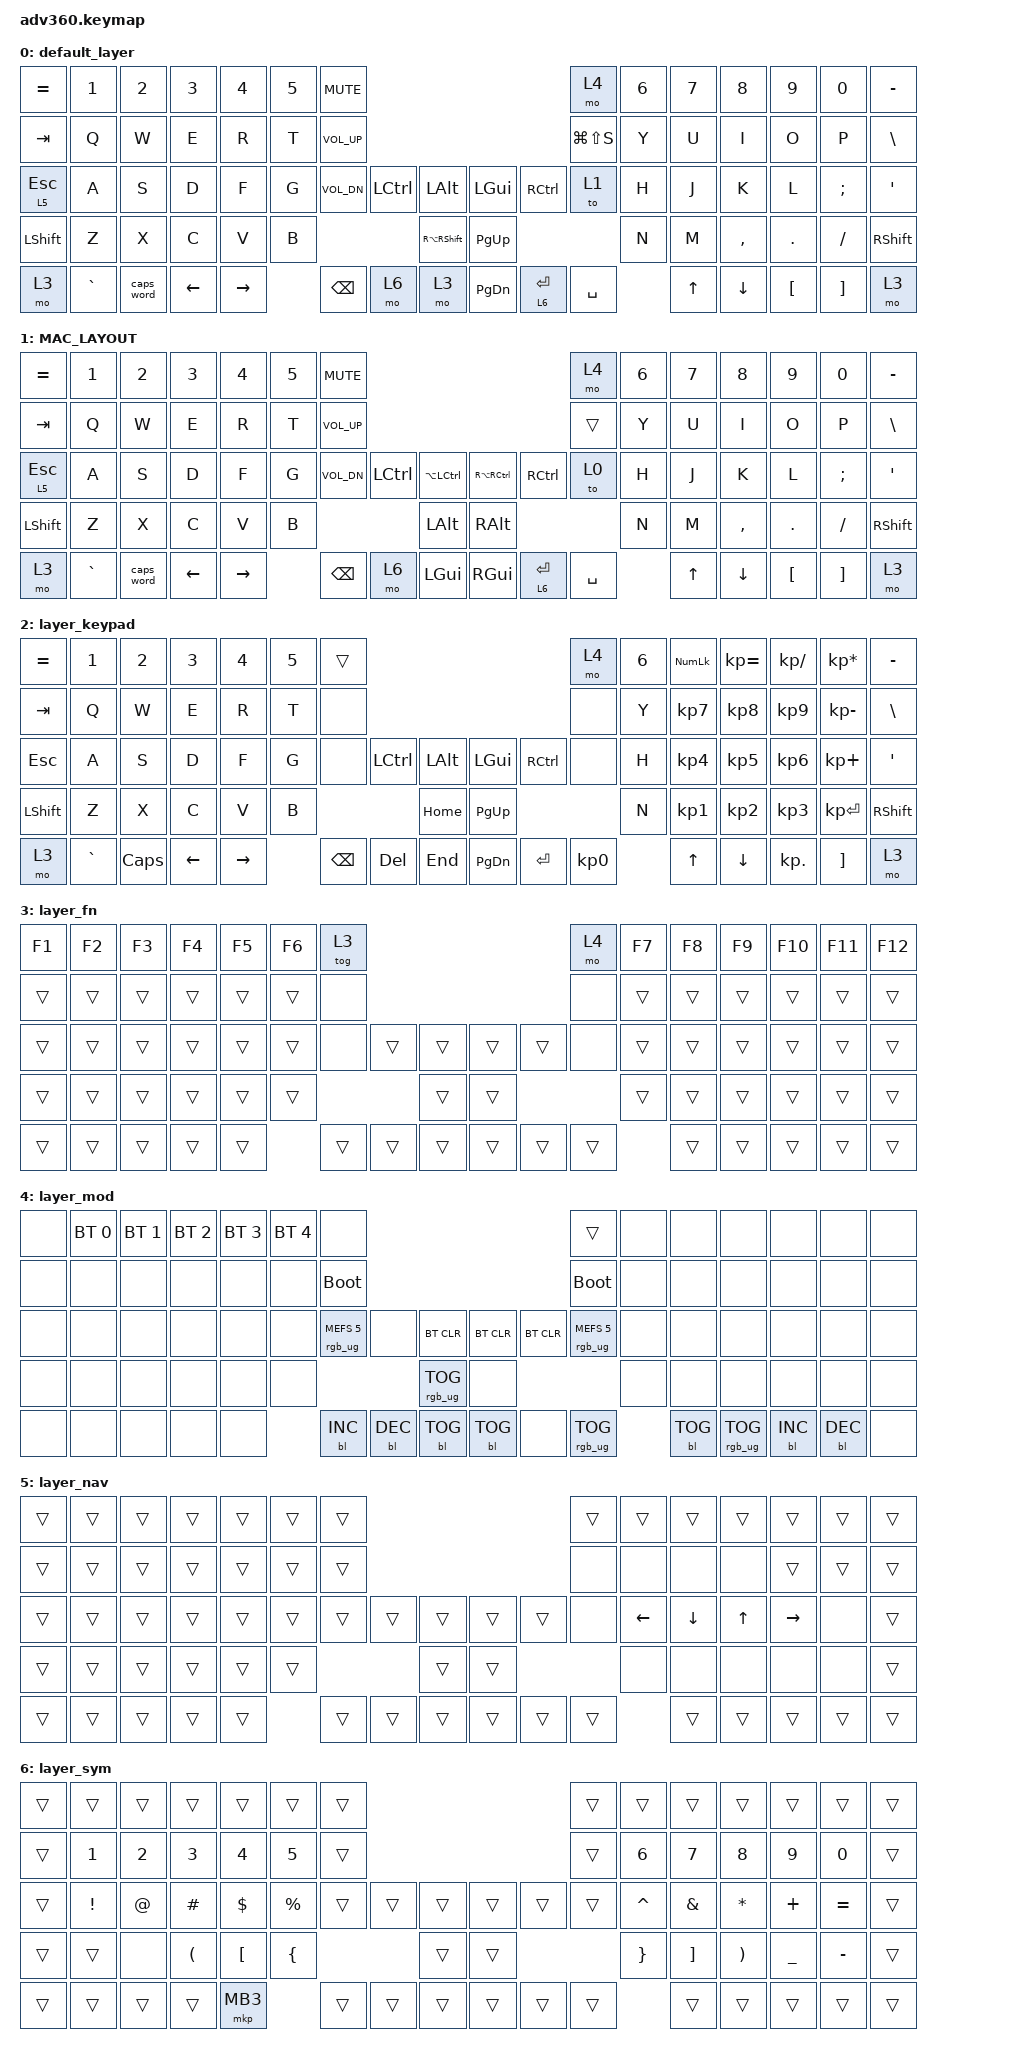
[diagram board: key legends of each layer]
/*
 * Copyright (c) 2020 The ZMK Contributors
 *
 * SPDX-License-Identifier: MIT
 */
/* THIS FILE WAS GENERATED!
 *
 * This file was generated automatically. You may or may not want to
 * edit it directly.
 */

#include <behaviors.dtsi>
#include <dt-bindings/zmk/keys.h>
#include <dt-bindings/zmk/bt.h>
#include <dt-bindings/zmk/mouse.h>
#include <dt-bindings/zmk/rgb.h>
#include <dt-bindings/zmk/stp.h>
#include <dt-bindings/zmk/backlight.h>
#include <dt-bindings/zmk/pointing.h>

/ {
    behaviors {
      #include "macros.dtsi"
      #include "version.dtsi"
        hm: homerow_mods {
            compatible = "zmk,behavior-hold-tap";
            label = "HOMEROW_MODS";
            #binding-cells = <2>;
            tapping-term-ms = <200>;
            quick_tap_ms = <175>;
            flavor = "tap-preferred";
            bindings = <&kp>, <&kp>;
        };
    };

    combos { compatible = "zmk,combos"; };

    keymap {
        compatible = "zmk,keymap";

        default_layer {
            bindings = <
&kp EQUAL  &kp N1     &kp N2      &kp N3    &kp N4     &kp N5  &kp C_MUTE                                                                &mo 4          &kp N6  &kp N7  &kp N8     &kp N9    &kp N0    &kp MINUS
&kp TAB    &kp Q      &kp W       &kp E     &kp R      &kp T   &kp C_VOL_UP                                                              &kp LG(LS(S))  &kp Y   &kp U   &kp I      &kp O     &kp P     &kp BSLH
&lt 5 ESC  &kp A      &kp S       &kp D     &kp F      &kp G   &kp C_VOL_DN   &kp LCTRL  &kp LALT            &kp LGUI       &kp RCTRL    &to 1          &kp H   &kp J   &kp K      &kp L     &kp SEMI  &kp SQT
&kp LSHFT  &kp Z      &kp X       &kp C     &kp V      &kp B                             &kp RA(RSHIFT)      &kp PG_UP                                  &kp N   &kp M   &kp COMMA  &kp DOT   &kp FSLH  &kp RSHFT
&mo 3      &kp GRAVE  &caps_word  &kp LEFT  &kp RIGHT          &kp BACKSPACE  &mo 6      &mo 3               &kp PAGE_DOWN  &lt 6 ENTER  &kp SPACE              &kp UP  &kp DOWN   &kp LBKT  &kp RBKT  &mo 3
            >;
        };

        MAC_LAYOUT {
            bindings = <
&kp EQUAL     &kp N1     &kp N2      &kp N3    &kp N4     &kp N5  &kp C_MUTE                                                                           &mo 4      &kp N6  &kp N7  &kp N8     &kp N9    &kp N0             &kp MINUS
&kp TAB       &kp Q      &kp W       &kp E     &kp R      &kp T   &kp C_VOL_UP                                                                         &trans     &kp Y   &kp U   &kp I      &kp O     &kp P              &kp BSLH
&lt 5 ESCAPE  &kp A      &kp S       &kp D     &kp F      &kp G   &kp C_VOL_DN  &kp LEFT_CONTROL  &kp LA(LCTRL)      &kp RA(RCTRL)  &kp RIGHT_CONTROL  &to 0      &kp H   &kp J   &kp K      &kp L     &kp SEMI           &kp SQT
&kp LSHFT     &kp Z      &kp X       &kp C     &kp V      &kp B                                   &kp LEFT_ALT       &kp RIGHT_ALT                                &kp N   &kp M   &kp COMMA  &kp DOT   &kp FSLH           &kp RIGHT_SHIFT
&mo 3         &kp GRAVE  &caps_word  &kp LEFT  &kp RIGHT          &kp BSPC      &mo 6             &kp LEFT_GUI       &kp RIGHT_GUI  &lt 6 ENTER        &kp SPACE          &kp UP  &kp DOWN   &kp LBKT  &kp RIGHT_BRACKET  &mo 3
            >;
        };

        layer_keypad {
            bindings = <
&kp EQUAL  &kp N1     &kp N2    &kp N3    &kp N4     &kp N5  &trans                                                   &mo 4      &kp N6  &kp KP_NUM  &kp KP_EQUAL  &kp KP_DIVIDE  &kp KP_MULTIPLY  &kp MINUS
&kp TAB    &kp Q      &kp W     &kp E     &kp R      &kp T   &none                                                    &none      &kp Y   &kp KP_N7   &kp KP_N8     &kp KP_N9      &kp KP_MINUS     &kp BSLH
&kp ESC    &kp A      &kp S     &kp D     &kp F      &kp G   &none     &kp LCTRL  &kp LALT      &kp LGUI   &kp RCTRL  &none      &kp H   &kp KP_N4   &kp KP_N5     &kp KP_N6      &kp KP_PLUS      &kp SQT
&kp LSHFT  &kp Z      &kp X     &kp C     &kp V      &kp B                        &kp HOME      &kp PG_UP                        &kp N   &kp KP_N1   &kp KP_N2     &kp KP_N3      &kp KP_ENTER     &kp RSHFT
&mo 3      &kp GRAVE  &kp CAPS  &kp LEFT  &kp RIGHT          &kp BSPC  &kp DEL    &kp END       &kp PG_DN  &kp ENTER  &kp KP_N0          &kp UP      &kp DOWN      &kp KP_DOT     &kp RBKT         &mo 3
            >;
        };

        layer_fn {
            bindings = <
&kp F1  &kp F2  &kp F3  &kp F4  &kp F5  &kp F6  &tog 3                                      &mo 4   &kp F7  &kp F8  &kp F9  &kp F10  &kp F11  &kp F12
&trans  &trans  &trans  &trans  &trans  &trans  &none                                       &none   &trans  &trans  &trans  &trans   &trans   &trans
&trans  &trans  &trans  &trans  &trans  &trans  &none   &trans  &trans      &trans  &trans  &none   &trans  &trans  &trans  &trans   &trans   &trans
&trans  &trans  &trans  &trans  &trans  &trans                  &trans      &trans                  &trans  &trans  &trans  &trans   &trans   &trans
&trans  &trans  &trans  &trans  &trans          &trans  &trans  &trans      &trans  &trans  &trans          &trans  &trans  &trans   &trans   &trans
            >;
        };

        layer_mod {
            bindings = <
&none  &bt BT_SEL 0  &bt BT_SEL 1  &bt BT_SEL 2  &bt BT_SEL 3  &bt BT_SEL 4  &none                                                                            &trans                  &none  &none       &none            &none       &none       &none
&none  &none         &none         &none         &none         &none         &bootloader                                                                      &bootloader             &none  &none       &none            &none       &none       &none
&none  &none         &none         &none         &none         &none         &rgb_ug RGB_MEFS_CMD 5  &none       &bt BT_CLR           &bt BT_CLR  &bt BT_CLR  &rgb_ug RGB_MEFS_CMD 5  &none  &none       &none            &none       &none       &none
&none  &none         &none         &none         &none         &none                                             &rgb_ug RGB_TOG      &none                                           &none  &none       &none            &none       &none       &none
&none  &none         &none         &none         &none                       &bl BL_INC              &bl BL_DEC  &bl BL_TOG           &bl BL_TOG  &none       &rgb_ug RGB_TOG                &bl BL_TOG  &rgb_ug RGB_TOG  &bl BL_INC  &bl BL_DEC  &none
            >;
        };

        layer_nav {
            bindings = <
&trans  &trans  &trans  &trans  &trans  &trans  &trans                                      &trans  &trans          &trans          &trans        &trans     &trans  &trans
&trans  &trans  &trans  &trans  &trans  &trans  &trans                                      &none   &none           &none           &none         &trans     &trans  &trans
&trans  &trans  &trans  &trans  &trans  &trans  &trans  &trans  &trans      &trans  &trans  &none   &kp LEFT_ARROW  &kp DOWN_ARROW  &kp UP_ARROW  &kp RIGHT  &none   &trans
&trans  &trans  &trans  &trans  &trans  &trans                  &trans      &trans                  &none           &none           &none         &none      &none   &trans
&trans  &trans  &trans  &trans  &trans          &trans  &trans  &trans      &trans  &trans  &trans                  &trans          &trans        &trans     &trans  &trans
            >;
        };

        layer_sym {
            bindings = <
&trans  &trans           &trans        &trans                &trans            &trans          &trans                                      &trans  &trans           &trans             &trans                 &trans          &trans        &trans
&trans  &kp NUMBER_1     &kp NUMBER_2  &kp NUMBER_3          &kp NUMBER_4      &kp NUMBER_5    &trans                                      &trans  &kp NUMBER_6     &kp NUMBER_7       &kp NUMBER_8           &kp NUMBER_9    &kp NUMBER_0  &trans
&trans  &kp EXCLAMATION  &kp AT_SIGN   &kp POUND             &kp DOLLAR        &kp PERCENT     &trans  &trans  &trans      &trans  &trans  &trans  &kp CARET        &kp AMPERSAND      &kp ASTERISK           &kp PLUS        &kp EQUAL     &trans
&trans  &trans           &none         &kp LEFT_PARENTHESIS  &kp LEFT_BRACKET  &kp LEFT_BRACE                  &trans      &trans                  &kp RIGHT_BRACE  &kp RIGHT_BRACKET  &kp RIGHT_PARENTHESIS  &kp UNDERSCORE  &kp MINUS     &trans
&trans  &trans           &trans        &trans                &mkp MB3                          &trans  &trans  &trans      &trans  &trans  &trans                   &trans             &trans                 &trans          &trans        &trans
            >;
        };
    };
};
